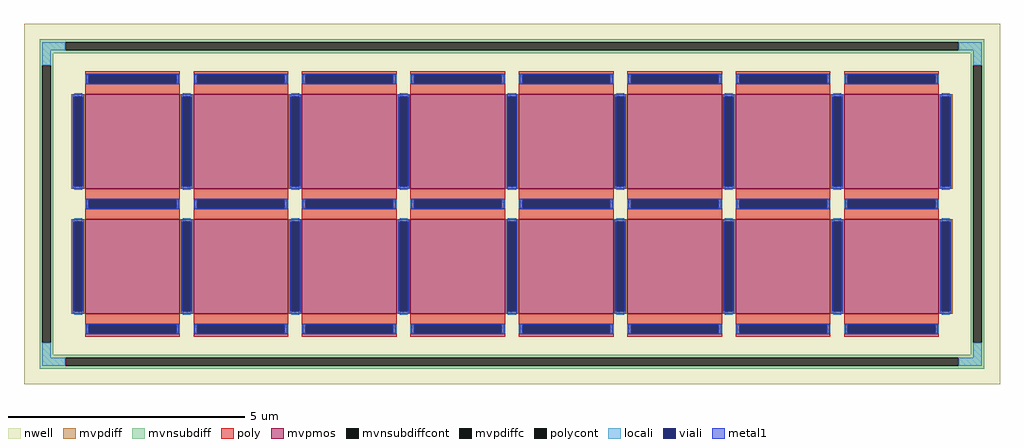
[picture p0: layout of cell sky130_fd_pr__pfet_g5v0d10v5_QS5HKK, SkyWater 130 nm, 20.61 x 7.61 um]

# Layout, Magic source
magic
tech sky130A
magscale 1 2
<< nwell >>
rect -2061 -761 2061 761
<< mvpmos >>
rect -1803 64 -1403 464
rect -1345 64 -945 464
rect -887 64 -487 464
rect -429 64 -29 464
rect 29 64 429 464
rect 487 64 887 464
rect 945 64 1345 464
rect 1403 64 1803 464
rect -1803 -464 -1403 -64
rect -1345 -464 -945 -64
rect -887 -464 -487 -64
rect -429 -464 -29 -64
rect 29 -464 429 -64
rect 487 -464 887 -64
rect 945 -464 1345 -64
rect 1403 -464 1803 -64
<< mvpdiff >>
rect -1861 452 -1803 464
rect -1861 76 -1849 452
rect -1815 76 -1803 452
rect -1861 64 -1803 76
rect -1403 452 -1345 464
rect -1403 76 -1391 452
rect -1357 76 -1345 452
rect -1403 64 -1345 76
rect -945 452 -887 464
rect -945 76 -933 452
rect -899 76 -887 452
rect -945 64 -887 76
rect -487 452 -429 464
rect -487 76 -475 452
rect -441 76 -429 452
rect -487 64 -429 76
rect -29 452 29 464
rect -29 76 -17 452
rect 17 76 29 452
rect -29 64 29 76
rect 429 452 487 464
rect 429 76 441 452
rect 475 76 487 452
rect 429 64 487 76
rect 887 452 945 464
rect 887 76 899 452
rect 933 76 945 452
rect 887 64 945 76
rect 1345 452 1403 464
rect 1345 76 1357 452
rect 1391 76 1403 452
rect 1345 64 1403 76
rect 1803 452 1861 464
rect 1803 76 1815 452
rect 1849 76 1861 452
rect 1803 64 1861 76
rect -1861 -76 -1803 -64
rect -1861 -452 -1849 -76
rect -1815 -452 -1803 -76
rect -1861 -464 -1803 -452
rect -1403 -76 -1345 -64
rect -1403 -452 -1391 -76
rect -1357 -452 -1345 -76
rect -1403 -464 -1345 -452
rect -945 -76 -887 -64
rect -945 -452 -933 -76
rect -899 -452 -887 -76
rect -945 -464 -887 -452
rect -487 -76 -429 -64
rect -487 -452 -475 -76
rect -441 -452 -429 -76
rect -487 -464 -429 -452
rect -29 -76 29 -64
rect -29 -452 -17 -76
rect 17 -452 29 -76
rect -29 -464 29 -452
rect 429 -76 487 -64
rect 429 -452 441 -76
rect 475 -452 487 -76
rect 429 -464 487 -452
rect 887 -76 945 -64
rect 887 -452 899 -76
rect 933 -452 945 -76
rect 887 -464 945 -452
rect 1345 -76 1403 -64
rect 1345 -452 1357 -76
rect 1391 -452 1403 -76
rect 1345 -464 1403 -452
rect 1803 -76 1861 -64
rect 1803 -452 1815 -76
rect 1849 -452 1861 -76
rect 1803 -464 1861 -452
<< mvpdiffc >>
rect -1849 76 -1815 452
rect -1391 76 -1357 452
rect -933 76 -899 452
rect -475 76 -441 452
rect -17 76 17 452
rect 441 76 475 452
rect 899 76 933 452
rect 1357 76 1391 452
rect 1815 76 1849 452
rect -1849 -452 -1815 -76
rect -1391 -452 -1357 -76
rect -933 -452 -899 -76
rect -475 -452 -441 -76
rect -17 -452 17 -76
rect 441 -452 475 -76
rect 899 -452 933 -76
rect 1357 -452 1391 -76
rect 1815 -452 1849 -76
<< mvnsubdiff >>
rect -1995 683 1995 695
rect -1995 649 -1887 683
rect 1887 649 1995 683
rect -1995 637 1995 649
rect -1995 587 -1937 637
rect -1995 -587 -1983 587
rect -1949 -587 -1937 587
rect 1937 587 1995 637
rect -1995 -637 -1937 -587
rect 1937 -587 1949 587
rect 1983 -587 1995 587
rect 1937 -637 1995 -587
rect -1995 -649 1995 -637
rect -1995 -683 -1887 -649
rect 1887 -683 1995 -649
rect -1995 -695 1995 -683
<< mvnsubdiffcont >>
rect -1887 649 1887 683
rect -1983 -587 -1949 587
rect 1949 -587 1983 587
rect -1887 -683 1887 -649
<< poly >>
rect -1803 545 -1403 561
rect -1803 511 -1787 545
rect -1419 511 -1403 545
rect -1803 464 -1403 511
rect -1345 545 -945 561
rect -1345 511 -1329 545
rect -961 511 -945 545
rect -1345 464 -945 511
rect -887 545 -487 561
rect -887 511 -871 545
rect -503 511 -487 545
rect -887 464 -487 511
rect -429 545 -29 561
rect -429 511 -413 545
rect -45 511 -29 545
rect -429 464 -29 511
rect 29 545 429 561
rect 29 511 45 545
rect 413 511 429 545
rect 29 464 429 511
rect 487 545 887 561
rect 487 511 503 545
rect 871 511 887 545
rect 487 464 887 511
rect 945 545 1345 561
rect 945 511 961 545
rect 1329 511 1345 545
rect 945 464 1345 511
rect 1403 545 1803 561
rect 1403 511 1419 545
rect 1787 511 1803 545
rect 1403 464 1803 511
rect -1803 17 -1403 64
rect -1803 -17 -1787 17
rect -1419 -17 -1403 17
rect -1803 -64 -1403 -17
rect -1345 17 -945 64
rect -1345 -17 -1329 17
rect -961 -17 -945 17
rect -1345 -64 -945 -17
rect -887 17 -487 64
rect -887 -17 -871 17
rect -503 -17 -487 17
rect -887 -64 -487 -17
rect -429 17 -29 64
rect -429 -17 -413 17
rect -45 -17 -29 17
rect -429 -64 -29 -17
rect 29 17 429 64
rect 29 -17 45 17
rect 413 -17 429 17
rect 29 -64 429 -17
rect 487 17 887 64
rect 487 -17 503 17
rect 871 -17 887 17
rect 487 -64 887 -17
rect 945 17 1345 64
rect 945 -17 961 17
rect 1329 -17 1345 17
rect 945 -64 1345 -17
rect 1403 17 1803 64
rect 1403 -17 1419 17
rect 1787 -17 1803 17
rect 1403 -64 1803 -17
rect -1803 -511 -1403 -464
rect -1803 -545 -1787 -511
rect -1419 -545 -1403 -511
rect -1803 -561 -1403 -545
rect -1345 -511 -945 -464
rect -1345 -545 -1329 -511
rect -961 -545 -945 -511
rect -1345 -561 -945 -545
rect -887 -511 -487 -464
rect -887 -545 -871 -511
rect -503 -545 -487 -511
rect -887 -561 -487 -545
rect -429 -511 -29 -464
rect -429 -545 -413 -511
rect -45 -545 -29 -511
rect -429 -561 -29 -545
rect 29 -511 429 -464
rect 29 -545 45 -511
rect 413 -545 429 -511
rect 29 -561 429 -545
rect 487 -511 887 -464
rect 487 -545 503 -511
rect 871 -545 887 -511
rect 487 -561 887 -545
rect 945 -511 1345 -464
rect 945 -545 961 -511
rect 1329 -545 1345 -511
rect 945 -561 1345 -545
rect 1403 -511 1803 -464
rect 1403 -545 1419 -511
rect 1787 -545 1803 -511
rect 1403 -561 1803 -545
<< polycont >>
rect -1787 511 -1419 545
rect -1329 511 -961 545
rect -871 511 -503 545
rect -413 511 -45 545
rect 45 511 413 545
rect 503 511 871 545
rect 961 511 1329 545
rect 1419 511 1787 545
rect -1787 -17 -1419 17
rect -1329 -17 -961 17
rect -871 -17 -503 17
rect -413 -17 -45 17
rect 45 -17 413 17
rect 503 -17 871 17
rect 961 -17 1329 17
rect 1419 -17 1787 17
rect -1787 -545 -1419 -511
rect -1329 -545 -961 -511
rect -871 -545 -503 -511
rect -413 -545 -45 -511
rect 45 -545 413 -511
rect 503 -545 871 -511
rect 961 -545 1329 -511
rect 1419 -545 1787 -511
<< locali >>
rect -1983 649 -1887 683
rect 1887 649 1983 683
rect -1983 587 -1949 649
rect 1949 587 1983 649
rect -1803 511 -1787 545
rect -1419 511 -1403 545
rect -1345 511 -1329 545
rect -961 511 -945 545
rect -887 511 -871 545
rect -503 511 -487 545
rect -429 511 -413 545
rect -45 511 -29 545
rect 29 511 45 545
rect 413 511 429 545
rect 487 511 503 545
rect 871 511 887 545
rect 945 511 961 545
rect 1329 511 1345 545
rect 1403 511 1419 545
rect 1787 511 1803 545
rect -1849 452 -1815 468
rect -1849 60 -1815 76
rect -1391 452 -1357 468
rect -1391 60 -1357 76
rect -933 452 -899 468
rect -933 60 -899 76
rect -475 452 -441 468
rect -475 60 -441 76
rect -17 452 17 468
rect -17 60 17 76
rect 441 452 475 468
rect 441 60 475 76
rect 899 452 933 468
rect 899 60 933 76
rect 1357 452 1391 468
rect 1357 60 1391 76
rect 1815 452 1849 468
rect 1815 60 1849 76
rect -1803 -17 -1787 17
rect -1419 -17 -1403 17
rect -1345 -17 -1329 17
rect -961 -17 -945 17
rect -887 -17 -871 17
rect -503 -17 -487 17
rect -429 -17 -413 17
rect -45 -17 -29 17
rect 29 -17 45 17
rect 413 -17 429 17
rect 487 -17 503 17
rect 871 -17 887 17
rect 945 -17 961 17
rect 1329 -17 1345 17
rect 1403 -17 1419 17
rect 1787 -17 1803 17
rect -1849 -76 -1815 -60
rect -1849 -468 -1815 -452
rect -1391 -76 -1357 -60
rect -1391 -468 -1357 -452
rect -933 -76 -899 -60
rect -933 -468 -899 -452
rect -475 -76 -441 -60
rect -475 -468 -441 -452
rect -17 -76 17 -60
rect -17 -468 17 -452
rect 441 -76 475 -60
rect 441 -468 475 -452
rect 899 -76 933 -60
rect 899 -468 933 -452
rect 1357 -76 1391 -60
rect 1357 -468 1391 -452
rect 1815 -76 1849 -60
rect 1815 -468 1849 -452
rect -1803 -545 -1787 -511
rect -1419 -545 -1403 -511
rect -1345 -545 -1329 -511
rect -961 -545 -945 -511
rect -887 -545 -871 -511
rect -503 -545 -487 -511
rect -429 -545 -413 -511
rect -45 -545 -29 -511
rect 29 -545 45 -511
rect 413 -545 429 -511
rect 487 -545 503 -511
rect 871 -545 887 -511
rect 945 -545 961 -511
rect 1329 -545 1345 -511
rect 1403 -545 1419 -511
rect 1787 -545 1803 -511
rect -1983 -649 -1949 -587
rect 1949 -649 1983 -587
rect -1983 -683 -1887 -649
rect 1887 -683 1983 -649
<< viali >>
rect -1787 511 -1419 545
rect -1329 511 -961 545
rect -871 511 -503 545
rect -413 511 -45 545
rect 45 511 413 545
rect 503 511 871 545
rect 961 511 1329 545
rect 1419 511 1787 545
rect -1849 76 -1815 452
rect -1391 76 -1357 452
rect -933 76 -899 452
rect -475 76 -441 452
rect -17 76 17 452
rect 441 76 475 452
rect 899 76 933 452
rect 1357 76 1391 452
rect 1815 76 1849 452
rect -1787 -17 -1419 17
rect -1329 -17 -961 17
rect -871 -17 -503 17
rect -413 -17 -45 17
rect 45 -17 413 17
rect 503 -17 871 17
rect 961 -17 1329 17
rect 1419 -17 1787 17
rect -1849 -452 -1815 -76
rect -1391 -452 -1357 -76
rect -933 -452 -899 -76
rect -475 -452 -441 -76
rect -17 -452 17 -76
rect 441 -452 475 -76
rect 899 -452 933 -76
rect 1357 -452 1391 -76
rect 1815 -452 1849 -76
rect -1787 -545 -1419 -511
rect -1329 -545 -961 -511
rect -871 -545 -503 -511
rect -413 -545 -45 -511
rect 45 -545 413 -511
rect 503 -545 871 -511
rect 961 -545 1329 -511
rect 1419 -545 1787 -511
<< metal1 >>
rect -1799 545 -1407 551
rect -1799 511 -1787 545
rect -1419 511 -1407 545
rect -1799 505 -1407 511
rect -1341 545 -949 551
rect -1341 511 -1329 545
rect -961 511 -949 545
rect -1341 505 -949 511
rect -883 545 -491 551
rect -883 511 -871 545
rect -503 511 -491 545
rect -883 505 -491 511
rect -425 545 -33 551
rect -425 511 -413 545
rect -45 511 -33 545
rect -425 505 -33 511
rect 33 545 425 551
rect 33 511 45 545
rect 413 511 425 545
rect 33 505 425 511
rect 491 545 883 551
rect 491 511 503 545
rect 871 511 883 545
rect 491 505 883 511
rect 949 545 1341 551
rect 949 511 961 545
rect 1329 511 1341 545
rect 949 505 1341 511
rect 1407 545 1799 551
rect 1407 511 1419 545
rect 1787 511 1799 545
rect 1407 505 1799 511
rect -1855 452 -1809 464
rect -1855 76 -1849 452
rect -1815 76 -1809 452
rect -1855 64 -1809 76
rect -1397 452 -1351 464
rect -1397 76 -1391 452
rect -1357 76 -1351 452
rect -1397 64 -1351 76
rect -939 452 -893 464
rect -939 76 -933 452
rect -899 76 -893 452
rect -939 64 -893 76
rect -481 452 -435 464
rect -481 76 -475 452
rect -441 76 -435 452
rect -481 64 -435 76
rect -23 452 23 464
rect -23 76 -17 452
rect 17 76 23 452
rect -23 64 23 76
rect 435 452 481 464
rect 435 76 441 452
rect 475 76 481 452
rect 435 64 481 76
rect 893 452 939 464
rect 893 76 899 452
rect 933 76 939 452
rect 893 64 939 76
rect 1351 452 1397 464
rect 1351 76 1357 452
rect 1391 76 1397 452
rect 1351 64 1397 76
rect 1809 452 1855 464
rect 1809 76 1815 452
rect 1849 76 1855 452
rect 1809 64 1855 76
rect -1799 17 -1407 23
rect -1799 -17 -1787 17
rect -1419 -17 -1407 17
rect -1799 -23 -1407 -17
rect -1341 17 -949 23
rect -1341 -17 -1329 17
rect -961 -17 -949 17
rect -1341 -23 -949 -17
rect -883 17 -491 23
rect -883 -17 -871 17
rect -503 -17 -491 17
rect -883 -23 -491 -17
rect -425 17 -33 23
rect -425 -17 -413 17
rect -45 -17 -33 17
rect -425 -23 -33 -17
rect 33 17 425 23
rect 33 -17 45 17
rect 413 -17 425 17
rect 33 -23 425 -17
rect 491 17 883 23
rect 491 -17 503 17
rect 871 -17 883 17
rect 491 -23 883 -17
rect 949 17 1341 23
rect 949 -17 961 17
rect 1329 -17 1341 17
rect 949 -23 1341 -17
rect 1407 17 1799 23
rect 1407 -17 1419 17
rect 1787 -17 1799 17
rect 1407 -23 1799 -17
rect -1855 -76 -1809 -64
rect -1855 -452 -1849 -76
rect -1815 -452 -1809 -76
rect -1855 -464 -1809 -452
rect -1397 -76 -1351 -64
rect -1397 -452 -1391 -76
rect -1357 -452 -1351 -76
rect -1397 -464 -1351 -452
rect -939 -76 -893 -64
rect -939 -452 -933 -76
rect -899 -452 -893 -76
rect -939 -464 -893 -452
rect -481 -76 -435 -64
rect -481 -452 -475 -76
rect -441 -452 -435 -76
rect -481 -464 -435 -452
rect -23 -76 23 -64
rect -23 -452 -17 -76
rect 17 -452 23 -76
rect -23 -464 23 -452
rect 435 -76 481 -64
rect 435 -452 441 -76
rect 475 -452 481 -76
rect 435 -464 481 -452
rect 893 -76 939 -64
rect 893 -452 899 -76
rect 933 -452 939 -76
rect 893 -464 939 -452
rect 1351 -76 1397 -64
rect 1351 -452 1357 -76
rect 1391 -452 1397 -76
rect 1351 -464 1397 -452
rect 1809 -76 1855 -64
rect 1809 -452 1815 -76
rect 1849 -452 1855 -76
rect 1809 -464 1855 -452
rect -1799 -511 -1407 -505
rect -1799 -545 -1787 -511
rect -1419 -545 -1407 -511
rect -1799 -551 -1407 -545
rect -1341 -511 -949 -505
rect -1341 -545 -1329 -511
rect -961 -545 -949 -511
rect -1341 -551 -949 -545
rect -883 -511 -491 -505
rect -883 -545 -871 -511
rect -503 -545 -491 -511
rect -883 -551 -491 -545
rect -425 -511 -33 -505
rect -425 -545 -413 -511
rect -45 -545 -33 -511
rect -425 -551 -33 -545
rect 33 -511 425 -505
rect 33 -545 45 -511
rect 413 -545 425 -511
rect 33 -551 425 -545
rect 491 -511 883 -505
rect 491 -545 503 -511
rect 871 -545 883 -511
rect 491 -551 883 -545
rect 949 -511 1341 -505
rect 949 -545 961 -511
rect 1329 -545 1341 -511
rect 949 -551 1341 -545
rect 1407 -511 1799 -505
rect 1407 -545 1419 -511
rect 1787 -545 1799 -511
rect 1407 -551 1799 -545
<< properties >>
string FIXED_BBOX -1966 -666 1966 666
string gencell sky130_fd_pr__pfet_g5v0d10v5
string library sky130
string parameters w 2 l 2 m 2 nf 8 diffcov 100 polycov 100 guard 1 glc 1 grc 1 gtc 1 gbc 1 tbcov 100 rlcov 100 topc 1 botc 1 poverlap 1 doverlap 1 lmin 0.50 wmin 0.42 compatible {sky130_fd_pr__pfet_01v8  sky130_fd_pr__pfet_01v8_lvt sky130_fd_pr__pfet_01v8_hvt  sky130_fd_pr__pfet_g5v0d10v5} full_metal 1 viasrc 100 viadrn 100 viagate 100 viagb 0 viagr 0 viagl 0 viagt 0
<< end >>
